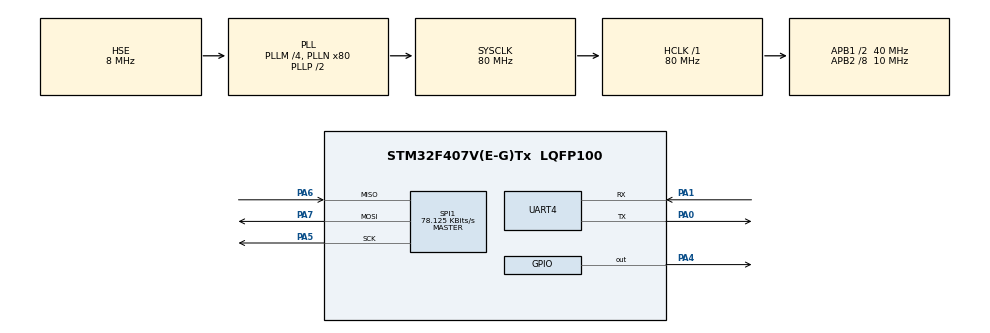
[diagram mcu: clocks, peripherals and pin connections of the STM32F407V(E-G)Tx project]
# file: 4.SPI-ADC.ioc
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Mcu.Family=STM32F4
Mcu.Name=STM32F407V(E-G)Tx
Mcu.Package=LQFP100
NVIC.PriorityGroup=NVIC_PRIORITYGROUP_4
PA0-WKUP.Mode=Asynchronous
PA0-WKUP.Signal=UART4_TX
PA1.Mode=Asynchronous
PA1.Signal=UART4_RX
PA4.Signal=GPIO_Output
PA5.Mode=Full_Duplex_Master
PA5.Signal=SPI1_SCK
PA6.Mode=Full_Duplex_Master
PA6.Signal=SPI1_MISO
PA7.Mode=Full_Duplex_Master
PA7.Signal=SPI1_MOSI
PH0-OSC_IN.Mode=HSE-External-Oscillator
PH0-OSC_IN.Signal=RCC_OSC_IN
PH1-OSC_OUT.Mode=HSE-External-Oscillator
PH1-OSC_OUT.Signal=RCC_OSC_OUT
ProjectManager.HeapSize=0x200
ProjectManager.StackSize=0x400
ProjectManager.TargetToolchain=MDK-ARM V5.32
RCC.48MHZClocksFreq_Value=40000000
RCC.AHBFreq_Value=80000000
RCC.APB1CLKDivider=RCC_HCLK_DIV2
RCC.APB1Freq_Value=40000000
RCC.APB1TimFreq_Value=80000000
RCC.APB2CLKDivider=RCC_HCLK_DIV8
RCC.APB2Freq_Value=10000000
RCC.APB2TimFreq_Value=20000000
RCC.CortexFreq_Value=80000000
RCC.HCLKFreq_Value=80000000
RCC.HSE_VALUE=8000000
RCC.HSI_VALUE=16000000
RCC.LSE_VALUE=32768
RCC.PLLM=4
RCC.PLLN=80
RCC.PLLSourceVirtual=RCC_PLLSOURCE_HSE
RCC.SYSCLKFreq_VALUE=80000000
RCC.SYSCLKSource=RCC_SYSCLKSOURCE_PLLCLK
RCC.VCOOutputFreq_Value=160000000
SPI1.BaudRatePrescaler=SPI_BAUDRATEPRESCALER_128
SPI1.CalculateBaudRate=78.125 KBits/s
SPI1.Direction=SPI_DIRECTION_2LINES
SPI1.Mode=SPI_MODE_MASTER
SPI1.VirtualType=VM_MASTER
UART4.VirtualMode=Asynchronous
board=custom

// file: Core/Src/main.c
/* USER CODE BEGIN Header */
/**
 ******************************************************************************
 * @file           : main.c
 * @brief          : Main program body
 ******************************************************************************
 * @attention
 *
 * Copyright (c) 2025 STMicroelectronics.
 * All rights reserved.
 *
 * This software is licensed under terms that can be found in the LICENSE file
 * in the root directory of this software component.
 * If no LICENSE file comes with this software, it is provided AS-IS.
 *
 ******************************************************************************
 */
/* USER CODE END Header */
#include "main.h"

/* USER CODE BEGIN Includes */
#include "stm32f407xx.h"
#include <stm32f4xx_hal_spi.h>
#include <stm32f4xx_hal_uart.h>
/* USER CODE END Includes */

SPI_HandleTypeDef hspi1;

UART_HandleTypeDef huart4;

void SystemClock_Config(void);
static void MX_GPIO_Init(void);
static void MX_SPI1_Init(void);
static void MX_UART4_Init(void);

int main(void)
{
	/* USER CODE BEGIN 1 */
	unsigned char txdata = 0;
	unsigned char rxdata = 0;
	char scr[32];
	/* USER CODE END 1 */

	/* MCU Configuration--------------------------------------------------------*/

	/* Reset of all peripherals, Initializes the Flash interface and the Systick. */
	HAL_Init();

	/* Configure the system clock */
	SystemClock_Config();

	/* Initialize all configured peripherals */
	MX_GPIO_Init();
	MX_SPI1_Init();
	MX_UART4_Init();

	/* Infinite loop */
	/* USER CODE BEGIN WHILE */
	while (1)
	{
		HAL_GPIO_WritePin(GPIOA, GPIO_PIN_4, GPIO_PIN_RESET);
		txdata = 0x01;
		HAL_SPI_TransmitReceive(&hspi1, &txdata, &rxdata, 1, 200);
		txdata = 0xA0;
		HAL_SPI_TransmitReceive(&hspi1, &txdata, &rxdata, 1, 200);
		unsigned int adc_data0 = (rxdata & 0x0f) << 8;
		txdata = 0x00;
		HAL_SPI_TransmitReceive(&hspi1, &txdata, &rxdata, 1, 200);
		adc_data0 |= rxdata;
		HAL_GPIO_WritePin(GPIOA, GPIO_PIN_4, GPIO_PIN_SET);
		HAL_Delay(200);
		/********************************/
		HAL_GPIO_WritePin(GPIOA, GPIO_PIN_4, GPIO_PIN_RESET);
		txdata = 0x01;
		HAL_SPI_TransmitReceive(&hspi1, &txdata, &rxdata, 1, 200);
		txdata = 0xE0;
		HAL_SPI_TransmitReceive(&hspi1, &txdata, &rxdata, 1, 200);
		unsigned int adc_data1 = (rxdata & 0x0f) << 8;
		txdata = 0x00;
		HAL_SPI_TransmitReceive(&hspi1, &txdata, &rxdata, 1, 200);
		adc_data1 |= rxdata;
		HAL_GPIO_WritePin(GPIOA, GPIO_PIN_4, GPIO_PIN_SET);
		sprintf(scr, "ADC0=%d--ADC1=%d\n\r", adc_data0, adc_data1);
		HAL_UART_Transmit(&huart4, scr, strlen(scr), HAL_MAX_DELAY);
		HAL_Delay(2000);
		/* USER CODE END WHILE */

	}
}

void SystemClock_Config(void)
{
	RCC_OscInitTypeDef RCC_OscInitStruct = { 0 };
	RCC_ClkInitTypeDef RCC_ClkInitStruct = { 0 };

	/** Configure the main internal regulator output voltage
	 */
	__HAL_RCC_PWR_CLK_ENABLE();
	__HAL_PWR_VOLTAGESCALING_CONFIG(PWR_REGULATOR_VOLTAGE_SCALE1);

	/** Initializes the RCC Oscillators according to the specified parameters
	 * in the RCC_OscInitTypeDef structure.
	 */
	RCC_OscInitStruct.OscillatorType = RCC_OSCILLATORTYPE_HSE;
	RCC_OscInitStruct.HSEState = RCC_HSE_ON;
	RCC_OscInitStruct.PLL.PLLState = RCC_PLL_ON;
	RCC_OscInitStruct.PLL.PLLSource = RCC_PLLSOURCE_HSE;
	RCC_OscInitStruct.PLL.PLLM = 4;
	RCC_OscInitStruct.PLL.PLLN = 80;
	RCC_OscInitStruct.PLL.PLLP = RCC_PLLP_DIV2;
	RCC_OscInitStruct.PLL.PLLQ = 4;
	if (HAL_RCC_OscConfig(&RCC_OscInitStruct) != HAL_OK)
	{
		Error_Handler();
	}

	/** Initializes the CPU, AHB and APB buses clocks
	 */
	RCC_ClkInitStruct.ClockType = RCC_CLOCKTYPE_HCLK | RCC_CLOCKTYPE_SYSCLK
		| RCC_CLOCKTYPE_PCLK1 | RCC_CLOCKTYPE_PCLK2;
	RCC_ClkInitStruct.SYSCLKSource = RCC_SYSCLKSOURCE_PLLCLK;
	RCC_ClkInitStruct.AHBCLKDivider = RCC_SYSCLK_DIV1;
	RCC_ClkInitStruct.APB1CLKDivider = RCC_HCLK_DIV2;
	RCC_ClkInitStruct.APB2CLKDivider = RCC_HCLK_DIV8;

	if (HAL_RCC_ClockConfig(&RCC_ClkInitStruct, FLASH_LATENCY_2) != HAL_OK)
	{
		Error_Handler();
	}
}

static void MX_SPI1_Init(void)
{

	/* SPI1 parameter configuration*/
	hspi1.Instance = SPI1;
	hspi1.Init.Mode = SPI_MODE_MASTER;
	hspi1.Init.Direction = SPI_DIRECTION_2LINES;
	hspi1.Init.DataSize = SPI_DATASIZE_8BIT;
	hspi1.Init.CLKPolarity = SPI_POLARITY_LOW;
	hspi1.Init.CLKPhase = SPI_PHASE_1EDGE;
	hspi1.Init.NSS = SPI_NSS_SOFT;
	hspi1.Init.BaudRatePrescaler = SPI_BAUDRATEPRESCALER_128;
	hspi1.Init.FirstBit = SPI_FIRSTBIT_MSB;
	hspi1.Init.TIMode = SPI_TIMODE_DISABLE;
	hspi1.Init.CRCCalculation = SPI_CRCCALCULATION_DISABLE;
	hspi1.Init.CRCPolynomial = 10;
	if (HAL_SPI_Init(&hspi1) != HAL_OK)
	{
		Error_Handler();
	}
}

static void MX_UART4_Init(void)
{

	huart4.Instance = UART4;
	huart4.Init.BaudRate = 115200;
	huart4.Init.WordLength = UART_WORDLENGTH_8B;
	huart4.Init.StopBits = UART_STOPBITS_1;
	huart4.Init.Parity = UART_PARITY_NONE;
	huart4.Init.Mode = UART_MODE_TX_RX;
	huart4.Init.HwFlowCtl = UART_HWCONTROL_NONE;
	huart4.Init.OverSampling = UART_OVERSAMPLING_16;
	if (HAL_UART_Init(&huart4) != HAL_OK)
	{
		Error_Handler();
	}
}

static void MX_GPIO_Init(void)
{
	GPIO_InitTypeDef GPIO_InitStruct = { 0 };

	/* GPIO Ports Clock Enable */
	__HAL_RCC_GPIOH_CLK_ENABLE();
	__HAL_RCC_GPIOA_CLK_ENABLE();

	/*Configure GPIO pin Output Level */
	HAL_GPIO_WritePin(GPIOA, GPIO_PIN_4, GPIO_PIN_RESET);

	/*Configure GPIO pin : PA4 */
	GPIO_InitStruct.Pin = GPIO_PIN_4;
	GPIO_InitStruct.Mode = GPIO_MODE_OUTPUT_PP;
	GPIO_InitStruct.Pull = GPIO_NOPULL;
	GPIO_InitStruct.Speed = GPIO_SPEED_FREQ_LOW;
	HAL_GPIO_Init(GPIOA, &GPIO_InitStruct);
}

void Error_Handler(void)
{
	__disable_irq();
	while (1)
	{
	}
}
